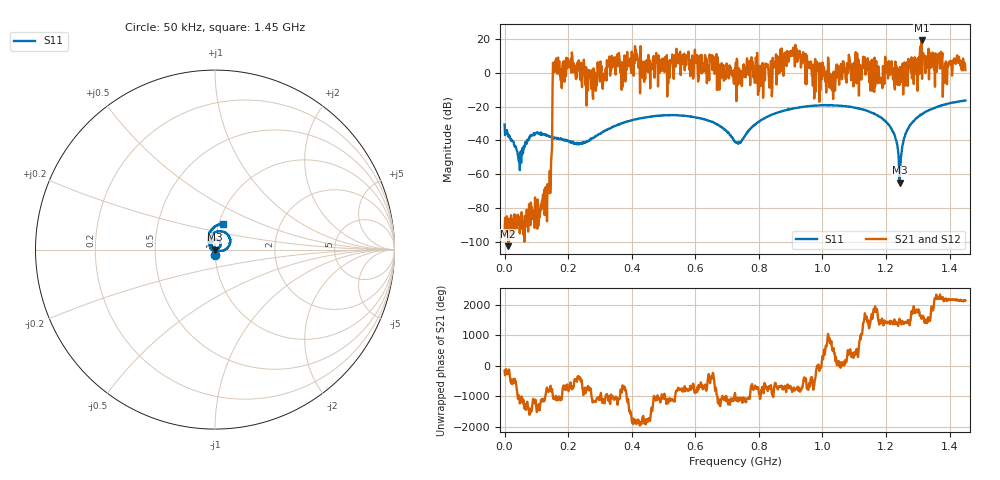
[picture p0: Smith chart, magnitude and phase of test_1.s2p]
! Created with skrf 1.11.0 (http://scikit-rf.org).
# Hz S RI R 50.0
!freq ReS11 ImS11 ReS21 ImS21 ReS12 ImS12 ReS22 ImS22
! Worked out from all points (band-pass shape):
!   1001 points, 50 kHz to 1.45 GHz, reference 50 ohm
!   highest |S21| = 19.33 dB at 1.312 GHz (marker M1); lowest = -102.8 dB at 11.65 MHz (marker M2)
!   |S21| within 3 dB of the highest: 914.9235 MHz to 915.0782 MHz (154.7 kHz wide, 0.0169 % of centre); 1.311992 GHz to 1.312446 GHz (453.4 kHz wide, 0.0346 % of centre)
!   lowest |S11| = -65.1 dB at 1.243 GHz (marker M3), VSWR 1.00, Z = 50 - j0.0427 ohm
!   |S11| at or under -10 dB: start of sweep to end of sweep
!   |S22| runs from - to - dB; largest |S21 - S12| = 0
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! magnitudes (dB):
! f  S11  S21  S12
! 50 kHz  -30.6  -95.3  -95.3
! 11.65 MHz  -37.3  -102.8  -102.8
! 47.9 MHz  -57.6  -95.1  -95.1
! 85.6 MHz  -36.8  -79.6  -79.6
! 133.4 MHz  -37.0  -88.0  -88.0
! 142.1 MHz  -37.8  -58.0  -58.0
! 153.7 MHz  -38.9  4.0  4.0
! 159.5 MHz  -38.5  5.6  5.6
! 242.2 MHz  -41.7  -3.8  -3.8
! 484.3 MHz  -25.3  10.5  10.5
! 635.1 MHz  -27.9  8.5  8.5
! 725 MHz  -40.6  2.6  2.6
! 835.2 MHz  -25.2  1.7  1.7
! 903.4 MHz  -21.3  10.7  10.7
! 967.2 MHz  -19.5  -1.6  -1.6
! 1.032 GHz  -19.1  -5.4  -5.4
! 1.085 GHz  -20.0  9.6  9.6
! 1.209 GHz  -30.7  7.0  7.0
! 1.243 GHz  -65.1  -7.1  -7.1
! 1.269 GHz  -33.2  -7.6  -7.6
! 1.312 GHz  -24.4  19.3  19.3
! 1.45 GHz  -16.4  1.7  1.7
